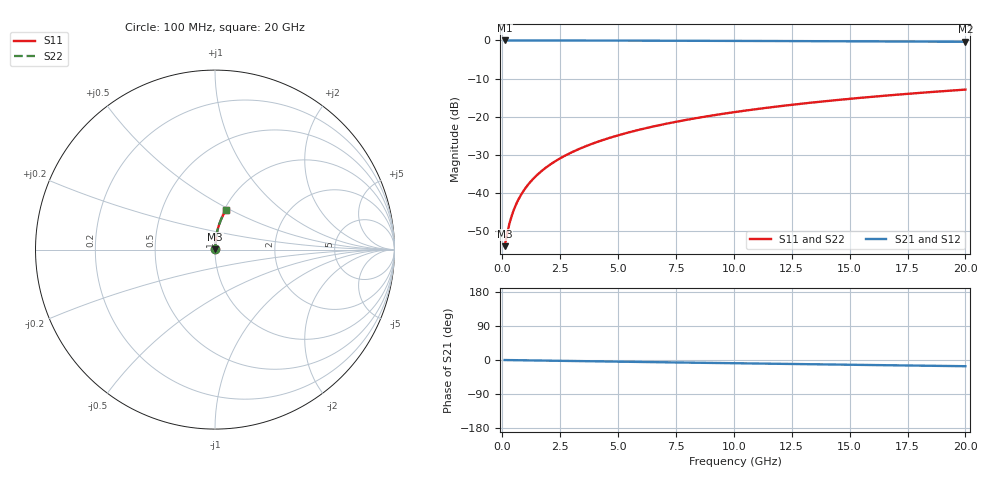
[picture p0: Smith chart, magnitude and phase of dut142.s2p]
! Touchstone file exported from HFSS 2024.1.0
!  File:  C:/UserFiles/LocalFiles/RDL_TSV_Batchsim/temp_RDL_top_142_1778684791.aedt
!  Generated:  11:08:48 PM May 13, 2026
!  Design:  RDL_top
!  Project:  temp_RDL_top_142_1778684791
!  Setup:  Setup1
!  Solution:  Sweep
! Variables:
!  dtsv = 10.80580581um
!  hbump = 3um
!  htsv = 86.08um
!  ldown = 100um
!  lrdl = 150.88um
!  p = 40
!  p1 = 54.4um
!  rhole = 1um
!  t = 450um
!  tdown = 3.915915916um
!  trdl = 3.13um
!  wdown = 15.38538539um
!  wrdl = 11.86um
# GHz S MA R 50.000000
! Terminal data exported
! Port[1] = Box2_T1
! Port[2] = Box2_T2
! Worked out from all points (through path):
!   200 points, 100 MHz to 20 GHz, reference 50 ohm
!   highest |S21| = -0.01 dB at 100 MHz (marker M1); lowest = -0.4 dB at 20 GHz (marker M2)
!   group delay of S21, straight-line fit = 2.27 ps
!   lowest |S11| = -54.0 dB at 100 MHz (marker M3), VSWR 1.00, Z = 50.2 + j0.117 ohm
!   |S11| at or under -10 dB: start of sweep to end of sweep
!   |S22| runs from -54.0 to -12.9 dB; largest |S21 - S12| = 5.3e-15
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0.1  0.001995 35.7  0.9984 -0.1  0.9984 -0.1  0.001995 35.7
! Gamma 0 0 0 0
! Port Impedance 50 0 50 0
0.2  0.002842 54.8  0.9984 -0.2  0.9984 -0.2  0.002842 54.8
0.3  0.003852 64.4  0.9983 -0.3  0.9983 -0.3  0.003852 64.4
0.4  0.004918 69.8  0.9983 -0.4  0.9983 -0.4  0.004918 69.8
0.5  0.006007 73.2  0.9983 -0.4  0.9983 -0.4  0.006007 73.2
0.6  0.007105 75.6  0.9982 -0.5  0.9982 -0.5  0.007105 75.6
0.8  0.009316 78.6  0.9981 -0.7  0.9981 -0.7  0.009316 78.6
1.1  0.01265 81.2  0.998 -1.0  0.998 -1.0  0.01265 81.2
1.5  0.01712 83.0  0.9978 -1.3  0.9978 -1.3  0.01712 83.0
1.8  0.02049 83.8  0.9976 -1.6  0.9976 -1.6  0.02049 83.8
2.1  0.02386 84.4  0.9974 -1.9  0.9974 -1.9  0.02386 84.4
2.7  0.03063 85.0  0.997 -2.4  0.997 -2.4  0.03063 85.0
3.5  0.0397 85.2  0.9962 -3.1  0.9962 -3.1  0.0397 85.2
4.2  0.04766 85.2  0.9954 -3.7  0.9954 -3.7  0.04766 85.2
5  0.05679 85.1  0.9943 -4.4  0.9943 -4.4  0.05679 85.1
5.9  0.06709 84.7  0.9929 -5.1  0.9929 -5.1  0.06709 84.7
6.8  0.07743 84.3  0.9914 -5.9  0.9914 -5.9  0.07743 84.3
8.3  0.09469 83.4  0.9887 -7.1  0.9887 -7.1  0.09469 83.4
10.1  0.1154 82.2  0.985 -8.6  0.985 -8.6  0.1154 82.2
13.4  0.1531 79.8  0.9774 -11.3  0.9774 -11.3  0.1531 79.8
16.7  0.1901 77.3  0.9689 -13.9  0.9689 -13.9  0.1901 77.3
20  0.2262 74.7  0.9596 -16.4  0.9596 -16.4  0.2262 74.7
